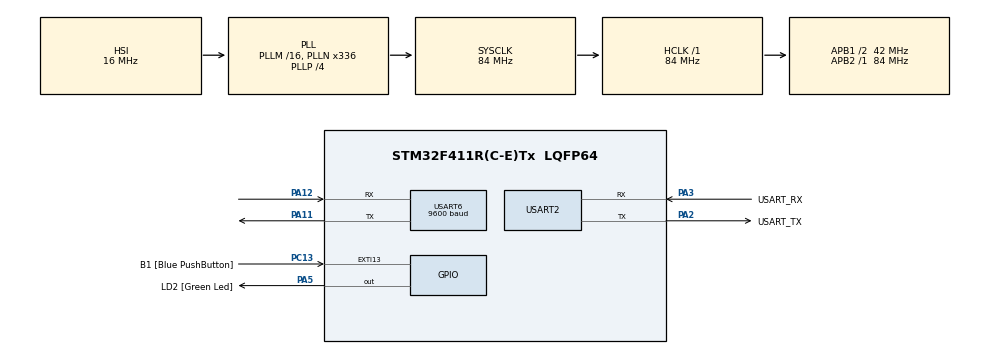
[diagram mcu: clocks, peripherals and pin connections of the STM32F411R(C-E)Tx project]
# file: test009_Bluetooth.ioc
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Dma.Request0=USART2_RX
Dma.Request1=USART6_RX
Dma.USART2_RX.0.Direction=DMA_PERIPH_TO_MEMORY
Dma.USART2_RX.0.FIFOMode=DMA_FIFOMODE_DISABLE
Dma.USART2_RX.0.Instance=DMA1_Stream5
Dma.USART2_RX.0.MemDataAlignment=DMA_MDATAALIGN_BYTE
Dma.USART2_RX.0.MemInc=DMA_MINC_ENABLE
Dma.USART2_RX.0.Mode=DMA_CIRCULAR
Dma.USART2_RX.0.PeriphDataAlignment=DMA_PDATAALIGN_BYTE
Dma.USART2_RX.0.PeriphInc=DMA_PINC_DISABLE
Dma.USART2_RX.0.Priority=DMA_PRIORITY_LOW
Dma.USART6_RX.1.Direction=DMA_PERIPH_TO_MEMORY
Dma.USART6_RX.1.FIFOMode=DMA_FIFOMODE_DISABLE
Dma.USART6_RX.1.Instance=DMA2_Stream2
Dma.USART6_RX.1.MemDataAlignment=DMA_MDATAALIGN_BYTE
Dma.USART6_RX.1.MemInc=DMA_MINC_ENABLE
Dma.USART6_RX.1.Mode=DMA_CIRCULAR
Dma.USART6_RX.1.PeriphDataAlignment=DMA_PDATAALIGN_BYTE
Dma.USART6_RX.1.PeriphInc=DMA_PINC_DISABLE
Dma.USART6_RX.1.Priority=DMA_PRIORITY_LOW
Mcu.Family=STM32F4
Mcu.Name=STM32F411R(C-E)Tx
Mcu.Package=LQFP64
NVIC.DMA1_Stream5_IRQn=true\:0\:0\:false\:false\:true\:false\:true\:true
NVIC.DMA2_Stream2_IRQn=true\:0\:0\:false\:false\:true\:false\:true\:true
NVIC.PriorityGroup=NVIC_PRIORITYGROUP_4
NVIC.USART2_IRQn=true\:0\:0\:false\:false\:true\:true\:true\:true
NVIC.USART6_IRQn=true\:0\:0\:false\:false\:true\:true\:true\:true
PA11.Mode=Asynchronous
PA11.Signal=USART6_TX
PA12.Mode=Asynchronous
PA12.Signal=USART6_RX
PA13.GPIO_Label=TMS
PA13.Mode=Serial_Wire
PA13.Signal=SYS_JTMS-SWDIO
PA14.GPIO_Label=TCK
PA14.Mode=Serial_Wire
PA14.Signal=SYS_JTCK-SWCLK
PA2.GPIO_Label=USART_TX
PA2.Mode=Asynchronous
PA2.Signal=USART2_TX
PA3.GPIO_Label=USART_RX
PA3.Mode=Asynchronous
PA3.Signal=USART2_RX
PA5.GPIO_Label=LD2 [Green Led]
PA5.Signal=GPIO_Output
PB3.GPIO_Label=SWO
PB3.Signal=SYS_JTDO-SWO
PC13-ANTI_TAMP.GPIO_Label=B1 [Blue PushButton]
PC13-ANTI_TAMP.GPIO_ModeDefaultEXTI=GPIO_MODE_IT_FALLING
PC13-ANTI_TAMP.Signal=GPXTI13
PC14-OSC32_IN.Mode=LSE-External-Oscillator
PC14-OSC32_IN.Signal=RCC_OSC32_IN
PC15-OSC32_OUT.Mode=LSE-External-Oscillator
PC15-OSC32_OUT.Signal=RCC_OSC32_OUT
PH0\ -\ OSC_IN.Mode=HSE-External-Clock-Source
PH0\ -\ OSC_IN.Signal=RCC_OSC_IN
PH1\ -\ OSC_OUT.Mode=HSE-External-Clock-Source
PH1\ -\ OSC_OUT.Signal=RCC_OSC_OUT
ProjectManager.HeapSize=0x200
ProjectManager.StackSize=0x400
ProjectManager.TargetToolchain=STM32CubeIDE
RCC.48MHZClocksFreq_Value=84000000
RCC.AHBFreq_Value=84000000
RCC.APB1CLKDivider=RCC_HCLK_DIV2
RCC.APB1Freq_Value=42000000
RCC.APB1TimFreq_Value=84000000
RCC.APB2Freq_Value=84000000
RCC.APB2TimFreq_Value=84000000
RCC.CortexFreq_Value=84000000
RCC.FLatency-AdvancedSettings=FLASH_LATENCY_2
RCC.HCLKFreq_Value=84000000
RCC.HSE_VALUE=8000000
RCC.HSI_VALUE=16000000
RCC.PLLN=336
RCC.PLLP=RCC_PLLP_DIV4
RCC.SYSCLKFreq_VALUE=84000000
RCC.SYSCLKSource=RCC_SYSCLKSOURCE_PLLCLK
RCC.VCOOutputFreq_Value=336000000
USART2.VirtualMode=VM_ASYNC
USART6.BaudRate=9600
USART6.VirtualMode=VM_ASYNC
board=NUCLEO-F411RE

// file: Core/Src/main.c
/* USER CODE BEGIN Header */
/**
  ******************************************************************************
  * @file           : main.c
  * @brief          : Main program body
  ******************************************************************************
  * @attention
  *
  * Copyright (c) 2025 STMicroelectronics.
  * All rights reserved.
  *
  * This software is licensed under terms that can be found in the LICENSE file
  * in the root directory of this software component.
  * If no LICENSE file comes with this software, it is provided AS-IS.
  *
  ******************************************************************************
  */
/* USER CODE END Header */
#include "main.h"

UART_HandleTypeDef huart2;
UART_HandleTypeDef huart6;
DMA_HandleTypeDef hdma_usart2_rx;
DMA_HandleTypeDef hdma_usart6_rx;

void SystemClock_Config(void);
static void MX_GPIO_Init(void);
static void MX_DMA_Init(void);
static void MX_USART2_UART_Init(void);
static void MX_USART6_UART_Init(void);

/* USER CODE BEGIN 0 */
#define BUF_SIZE 100
char buf1[BUF_SIZE], buf2[BUF_SIZE]; // DMA Buffer
char dum1, dum2;
int head1 = 0, head2 = 0, tail1 = 0, tail2 = 0;
void HAL_UART_RxCpltCallback(UART_HandleTypeDef *huart)
{
	if(huart == &huart6)
	{
		buf1[tail1++] = dum1;
		HAL_UART_Transmit(&huart2, &dum1/*== buf1+t1-1*/, 1, 10);		// putty print
		if(dum1 == '\r')		// End of Line
		{
			CheckCMD(buf1);
			tail1 = 0;
		}
		HAL_UART_Receive_IT(&huart6, &dum1, 1);			// interrupt chain
	}

	else if(huart == &huart2)
	{
		buf2[tail2++] = dum2;
		HAL_UART_Transmit(&huart2, &dum2, 1, 10); // terminal echo
		if(dum2 == '\r')  // CR : 0x0d
		{
			HAL_UART_Transmit(&huart2, "\n", 1, 10); // terminal echo

			buf2[tail2++] = '\n'; // == HAL_UART_Transmit(&huart1, "\n", 1, 10);
			HAL_UART_Transmit(&huart6, buf2, tail2, 10);	// AT Command
//			HAL_UART_Transmit(&huart1, "\n", 1, 10);
			tail2 = 0;
		}
		HAL_UART_Receive_IT(&huart2, &dum2, 1);			// interrupt chain
	}
}
void Trim_EX(char *dest, char *s) // s = "    xx x \t \r\n" ==> "xx x"
{
	int trim_head = 0, trim_tail = strlen(s) - 1;
	while(1)
	{
		if(*(s + trim_head) == ' ' || *(s + trim_head) == '\r' || *(s + trim_head) == '\n' || *(s + trim_head) == '\t') trim_head++;
		else break;
	}
	while(1)
	{
		if(*(s + trim_tail) == ' ' || *(s + trim_tail) == '\r' || *(s + trim_tail) == '\n' || *(s + trim_tail) == '\t') trim_tail--;
		else break;
	}
	strncpy(dest, (s + trim_head), (trim_tail - trim_head + 1));
}

char * Trim(char *s) // s = "    xx x \t \r\n" ==> "xx x"
{
	int trim_head = 0, trim_tail = strlen(s) - 1;
	while(*(s + trim_head) == ' ' || *(s + trim_head) == '\r' || *(s + trim_head) == '\n' || *(s + trim_head) == '\t') trim_head++;
//	{
//		if(*(s + trim_head) == ' ' || *(s + trim_head) == '\r' || *(s + trim_head) == '\n' || *(s + trim_head) == '\t') trim_head++;
//		else break;
//	}
	while(*(s + trim_tail) == ' ' || *(s + trim_tail) == '\r' || *(s + trim_tail) == '\n' || *(s + trim_tail) == '\t') trim_tail--;
//	{
//		if(*(s + trim_tail) == ' ' || *(s + trim_tail) == '\r' || *(s + trim_tail) == '\n' || *(s + trim_tail) == '\t') trim_tail--;
//		else break;
//	}
	char *dest = (char *) malloc(trim_tail - trim_head + 1);
	strncpy(dest, (s + trim_head), (trim_tail - trim_head + 1));
	return dest;
}

void CheckCMD(char *bb)
{
	char *str = Trim(bb);
//	char * str = Trim(bb); //Trim : white space remove
//	Trim_EX(str,bb);
	ToUpper(str);
	if(strncmp(str, "MODE", 4) == 0)
	{
		str = Trim(str+4);
		if(str[0] == '1')
			HAL_GPIO_WritePin(LD2_GPIO_Port, LD2_Pin, 1);
		else if(str[0] == '0')
			HAL_GPIO_WritePin(LD2_GPIO_Port, LD2_Pin, 0);
	}
	else if(strncmp(str, "MOVE", 4) == 0)
	{
		str = Trim(str+4);
		if(str[0] == '0')
			HAL_GPIO_WritePin(LD2_GPIO_Port, LD2_Pin, 1);
		else if(str[0] == '1')
			HAL_GPIO_WritePin(LD2_GPIO_Port, LD2_Pin, 0);
		else if(str[0] == '2')
			HAL_GPIO_WritePin(LD2_GPIO_Port, LD2_Pin, 0);
		else if(str[0] == '3')
			HAL_GPIO_WritePin(LD2_GPIO_Port, LD2_Pin, 0);
	}
}
/* USER CODE END 0 */

int main(void)
{

  /* MCU Configuration--------------------------------------------------------*/

  /* Reset of all peripherals, Initializes the Flash interface and the Systick. */
  HAL_Init();

  /* Configure the system clock */
  SystemClock_Config();

  /* Initialize all configured peripherals */
  MX_GPIO_Init();
  MX_DMA_Init();
  MX_USART2_UART_Init();
  MX_USART6_UART_Init();
  /* USER CODE BEGIN 2 */
  ProgramStart("Bluetooth");
//  HAL_UART_Receive_DMA(&huart1, buf1, BUF_SIZE);
//  HAL_UART_Receive_DMA(&huart2, buf2, BUF_SIZE);
  HAL_UART_Receive_IT(&huart6, &dum1, 1);
  HAL_UART_Receive_IT(&huart2, &dum2, 1);
  /* USER CODE END 2 */

  /* Infinite loop */
  while (1)
  {

  }
}

void SystemClock_Config(void)
{
  RCC_OscInitTypeDef RCC_OscInitStruct = {0};
  RCC_ClkInitTypeDef RCC_ClkInitStruct = {0};

  /** Configure the main internal regulator output voltage
  */
  __HAL_RCC_PWR_CLK_ENABLE();
  __HAL_PWR_VOLTAGESCALING_CONFIG(PWR_REGULATOR_VOLTAGE_SCALE1);

  /** Initializes the RCC Oscillators according to the specified parameters
  * in the RCC_OscInitTypeDef structure.
  */
  RCC_OscInitStruct.OscillatorType = RCC_OSCILLATORTYPE_HSI;
  RCC_OscInitStruct.HSIState = RCC_HSI_ON;
  RCC_OscInitStruct.HSICalibrationValue = RCC_HSICALIBRATION_DEFAULT;
  RCC_OscInitStruct.PLL.PLLState = RCC_PLL_ON;
  RCC_OscInitStruct.PLL.PLLSource = RCC_PLLSOURCE_HSI;
  RCC_OscInitStruct.PLL.PLLM = 16;
  RCC_OscInitStruct.PLL.PLLN = 336;
  RCC_OscInitStruct.PLL.PLLP = RCC_PLLP_DIV4;
  RCC_OscInitStruct.PLL.PLLQ = 4;
  if (HAL_RCC_OscConfig(&RCC_OscInitStruct) != HAL_OK)
  {
    Error_Handler();
  }

  /** Initializes the CPU, AHB and APB buses clocks
  */
  RCC_ClkInitStruct.ClockType = RCC_CLOCKTYPE_HCLK|RCC_CLOCKTYPE_SYSCLK
                              |RCC_CLOCKTYPE_PCLK1|RCC_CLOCKTYPE_PCLK2;
  RCC_ClkInitStruct.SYSCLKSource = RCC_SYSCLKSOURCE_PLLCLK;
  RCC_ClkInitStruct.AHBCLKDivider = RCC_SYSCLK_DIV1;
  RCC_ClkInitStruct.APB1CLKDivider = RCC_HCLK_DIV2;
  RCC_ClkInitStruct.APB2CLKDivider = RCC_HCLK_DIV1;

  if (HAL_RCC_ClockConfig(&RCC_ClkInitStruct, FLASH_LATENCY_2) != HAL_OK)
  {
    Error_Handler();
  }
}

static void MX_USART2_UART_Init(void)
{

  huart2.Instance = USART2;
  huart2.Init.BaudRate = 115200;
  huart2.Init.WordLength = UART_WORDLENGTH_8B;
  huart2.Init.StopBits = UART_STOPBITS_1;
  huart2.Init.Parity = UART_PARITY_NONE;
  huart2.Init.Mode = UART_MODE_TX_RX;
  huart2.Init.HwFlowCtl = UART_HWCONTROL_NONE;
  huart2.Init.OverSampling = UART_OVERSAMPLING_16;
  if (HAL_UART_Init(&huart2) != HAL_OK)
  {
    Error_Handler();
  }

}

static void MX_USART6_UART_Init(void)
{

  huart6.Instance = USART6;
  huart6.Init.BaudRate = 9600;
  huart6.Init.WordLength = UART_WORDLENGTH_8B;
  huart6.Init.StopBits = UART_STOPBITS_1;
  huart6.Init.Parity = UART_PARITY_NONE;
  huart6.Init.Mode = UART_MODE_TX_RX;
  huart6.Init.HwFlowCtl = UART_HWCONTROL_NONE;
  huart6.Init.OverSampling = UART_OVERSAMPLING_16;
  if (HAL_UART_Init(&huart6) != HAL_OK)
  {
    Error_Handler();
  }

}

static void MX_DMA_Init(void)
{

  /* DMA controller clock enable */
  __HAL_RCC_DMA1_CLK_ENABLE();
  __HAL_RCC_DMA2_CLK_ENABLE();

  /* DMA interrupt init */
  /* DMA1_Stream5_IRQn interrupt configuration */
  HAL_NVIC_SetPriority(DMA1_Stream5_IRQn, 0, 0);
  HAL_NVIC_EnableIRQ(DMA1_Stream5_IRQn);
  /* DMA2_Stream2_IRQn interrupt configuration */
  HAL_NVIC_SetPriority(DMA2_Stream2_IRQn, 0, 0);
  HAL_NVIC_EnableIRQ(DMA2_Stream2_IRQn);

}

static void MX_GPIO_Init(void)
{
  GPIO_InitTypeDef GPIO_InitStruct = {0};

  /* GPIO Ports Clock Enable */
  __HAL_RCC_GPIOC_CLK_ENABLE();
  __HAL_RCC_GPIOH_CLK_ENABLE();
  __HAL_RCC_GPIOA_CLK_ENABLE();
  __HAL_RCC_GPIOB_CLK_ENABLE();

  /*Configure GPIO pin Output Level */
  HAL_GPIO_WritePin(LD2_GPIO_Port, LD2_Pin, GPIO_PIN_RESET);

  /*Configure GPIO pin : B1_Pin */
  GPIO_InitStruct.Pin = B1_Pin;
  GPIO_InitStruct.Mode = GPIO_MODE_IT_FALLING;
  GPIO_InitStruct.Pull = GPIO_NOPULL;
  HAL_GPIO_Init(B1_GPIO_Port, &GPIO_InitStruct);

  /*Configure GPIO pin : LD2_Pin */
  GPIO_InitStruct.Pin = LD2_Pin;
  GPIO_InitStruct.Mode = GPIO_MODE_OUTPUT_PP;
  GPIO_InitStruct.Pull = GPIO_NOPULL;
  GPIO_InitStruct.Speed = GPIO_SPEED_FREQ_LOW;
  HAL_GPIO_Init(LD2_GPIO_Port, &GPIO_InitStruct);

}

void Error_Handler(void)
{
  __disable_irq();
  while (1)
  {
  }
}
